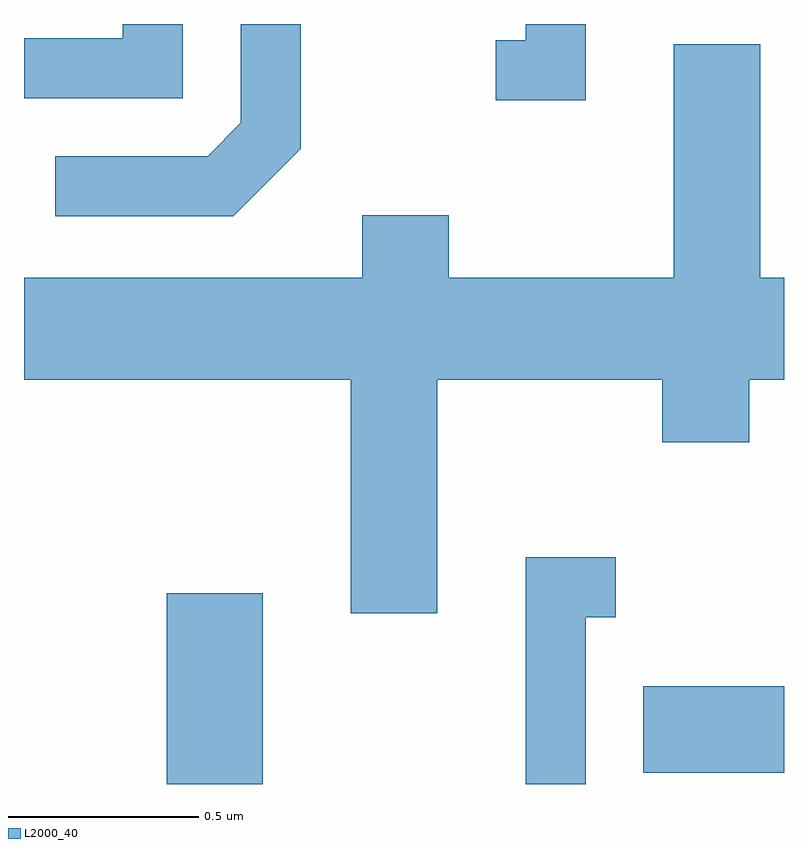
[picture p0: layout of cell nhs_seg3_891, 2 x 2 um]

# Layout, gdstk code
import gdstk
lib = gdstk.Library(unit=1e-6, precision=1e-09)
def R(c, l, rs):  # rectangles x0, y0, x1, y1
    for r in rs: c.add(gdstk.rectangle(r[:2], r[2:], *l))
def P(c, l, *ps):  # polygons
    for p in ps: c.add(gdstk.Polygon(p, *l))
L2000_40 = (2000, 40)

nhs_seg3_891 = lib.new_cell('nhs_seg3_891')
R(nhs_seg3_891, L2000_40, [(191.986,1184.892,192.239,1185.394), (193.241,1184.921,193.611,1185.149)])
P(nhs_seg3_891, L2000_40, [(192.029,1186.892),(191.871,1186.892),(191.871,1186.854),(191.611,1186.854),(191.611,1186.696),(192.029,1186.696)],
  [(192.339,1186.564),(192.339,1186.892),(192.181,1186.892),(192.181,1186.632),(192.094,1186.544),(191.693,1186.544),(191.693,1186.386),(192.162,1186.386)],
  [(193.089,1186.892),(192.931,1186.892),(192.931,1186.849),(192.853,1186.849),(192.853,1186.691),(193.089,1186.691)],
  [(192.699,1185.956),(193.291,1185.956),(193.291,1185.791),(193.519,1185.791),(193.519,1185.956),(193.611,1185.956),(193.611,1186.224),(193.549,1186.224),(193.549,1186.839),(193.321,1186.839),(193.321,1186.224),(192.729,1186.224),(192.729,1186.389),(192.501,1186.389),(192.501,1186.224),(191.611,1186.224),(191.611,1185.956),(192.471,1185.956),(192.471,1185.341),(192.699,1185.341)],
  [(193.089,1185.331),(193.168,1185.331),(193.168,1185.489),(192.931,1185.489),(192.931,1184.892),(193.089,1184.892)])

lib.write_gds('nhs_seg3_891.gds')
